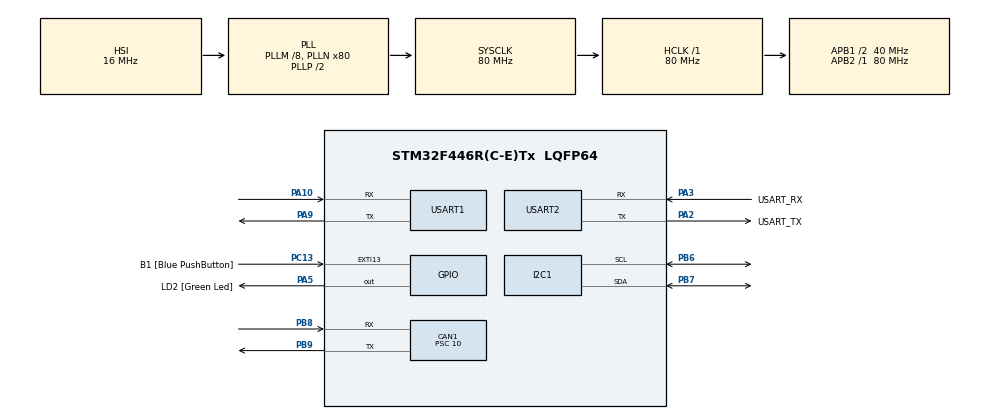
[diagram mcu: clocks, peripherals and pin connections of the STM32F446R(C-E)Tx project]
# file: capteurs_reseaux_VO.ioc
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CAN1.BS1=CAN_BS1_6TQ
CAN1.CalculateBaudRate=500000
CAN1.CalculateTimeBit=2000
CAN1.CalculateTimeQuantum=250.0
CAN1.Prescaler=10
Dma.Request0=USART1_RX
Dma.USART1_RX.0.Direction=DMA_PERIPH_TO_MEMORY
Dma.USART1_RX.0.FIFOMode=DMA_FIFOMODE_DISABLE
Dma.USART1_RX.0.Instance=DMA2_Stream2
Dma.USART1_RX.0.MemDataAlignment=DMA_MDATAALIGN_BYTE
Dma.USART1_RX.0.MemInc=DMA_MINC_ENABLE
Dma.USART1_RX.0.Mode=DMA_CIRCULAR
Dma.USART1_RX.0.PeriphDataAlignment=DMA_PDATAALIGN_BYTE
Dma.USART1_RX.0.PeriphInc=DMA_PINC_DISABLE
Dma.USART1_RX.0.Priority=DMA_PRIORITY_LOW
Mcu.Family=STM32F4
Mcu.Name=STM32F446R(C-E)Tx
Mcu.Package=LQFP64
NVIC.DMA2_Stream2_IRQn=true\:0\:0\:false\:false\:true\:false\:true\:true
NVIC.PriorityGroup=NVIC_PRIORITYGROUP_0
NVIC.TIM2_IRQn=true\:0\:0\:false\:false\:true\:true\:true\:true
NVIC.USART1_IRQn=true\:0\:0\:false\:false\:true\:true\:true\:true
PA10.Mode=Asynchronous
PA10.Signal=USART1_RX
PA13.GPIO_Label=TMS
PA13.Mode=Serial_Wire
PA13.Signal=SYS_JTMS-SWDIO
PA14.GPIO_Label=TCK
PA14.Mode=Serial_Wire
PA14.Signal=SYS_JTCK-SWCLK
PA2.GPIO_Label=USART_TX
PA2.Mode=Asynchronous
PA2.Signal=USART2_TX
PA3.GPIO_Label=USART_RX
PA3.Mode=Asynchronous
PA3.Signal=USART2_RX
PA5.GPIO_Label=LD2 [Green Led]
PA5.Signal=GPIO_Output
PA8.Signal=I2C3_SCL
PA9.Mode=Asynchronous
PA9.Signal=USART1_TX
PB3.GPIO_Label=SWO
PB3.Signal=SYS_JTDO-SWO
PB4.Signal=I2C3_SDA
PB6.Mode=I2C
PB6.Signal=I2C1_SCL
PB7.Mode=I2C
PB7.Signal=I2C1_SDA
PB8.Mode=CAN_Activate
PB8.Signal=CAN1_RX
PB9.Mode=CAN_Activate
PB9.Signal=CAN1_TX
PC13.GPIO_Label=B1 [Blue PushButton]
PC13.GPIO_ModeDefaultEXTI=GPIO_MODE_IT_FALLING
PC13.Signal=GPXTI13
PC14-OSC32_IN.Mode=LSE-External-Oscillator
PC14-OSC32_IN.Signal=RCC_OSC32_IN
PC15-OSC32_OUT.Mode=LSE-External-Oscillator
PC15-OSC32_OUT.Signal=RCC_OSC32_OUT
PH0-OSC_IN.Mode=HSE-External-Oscillator
PH0-OSC_IN.Signal=RCC_OSC_IN
PH1-OSC_OUT.Mode=HSE-External-Oscillator
PH1-OSC_OUT.Signal=RCC_OSC_OUT
ProjectManager.HeapSize=0x200
ProjectManager.StackSize=0x400
ProjectManager.TargetToolchain=STM32CubeIDE
RCC.48MHZClocksFreq_Value=84000000
RCC.AHBFreq_Value=80000000
RCC.APB1CLKDivider=RCC_HCLK_DIV2
RCC.APB1Freq_Value=40000000
RCC.APB1TimFreq_Value=80000000
RCC.APB2Freq_Value=80000000
RCC.APB2TimFreq_Value=80000000
RCC.CortexFreq_Value=80000000
RCC.FLatency-AdvancedSettings=FLASH_LATENCY_2
RCC.HCLKFreq_Value=80000000
RCC.HSE_VALUE=8000000
RCC.HSI_VALUE=16000000
RCC.PLLM=8
RCC.PLLN=80
RCC.SYSCLKFreq_VALUE=80000000
RCC.SYSCLKSource=RCC_SYSCLKSOURCE_PLLCLK
RCC.USBFreq_Value=80000000
RCC.VCOOutputFreq_Value=160000000
TIM2.Period=100-1
TIM2.Prescaler=8000-1
USART1.VirtualMode=VM_ASYNC
USART2.VirtualMode=VM_ASYNC
VP_TIM2_VS_ClockSourceINT.Mode=Internal
board=NUCLEO-F446RE

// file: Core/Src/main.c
/* USER CODE BEGIN Header */
/**
 ******************************************************************************
 * @file           : main.c
 * @brief          : Main program body
 ******************************************************************************
 * @attention
 *
 * Copyright (c) 2024 STMicroelectronics.
 * All rights reserved.
 *
 * This software is licensed under terms that can be found in the LICENSE file
 * in the root directory of this software component.
 * If no LICENSE file comes with this software, it is provided AS-IS.
 *
 ******************************************************************************
 */
/* USER CODE END Header */
#include "main.h"
#include "can.h"
#include "dma.h"
#include "i2c.h"
#include "tim.h"
#include "usart.h"
#include "gpio.h"

/* USER CODE BEGIN Includes */
#include <stdio.h>
#include <stdlib.h>
#include <string.h>
#include "BMP280_driver.h"
#include "MPU9250_driver.h"
#include "motor_driver.h"

/* USER CODE END Includes */

/* USER CODE BEGIN PD */
#define TRUE  1
#define FALSE 0
#define VERBOSE 0 // Enables debugging

#define SERIAL_BUFF_SIZE 7

#define GYRO_CAL_POINTS 1500

/* USER CODE END PD */

/* USER CODE BEGIN PV */
char serial_buff[SERIAL_BUFF_SIZE];

int gyro_K = 0;

/* USER CODE END PV */

void SystemClock_Config(void);

/* USER CODE BEGIN 0 */
/**
 * @brief  Transmit a character over UART.
 * @param  ch: Character to transmit.
 * @retval int: The transmitted character.
 */
int __io_putchar(int ch)
{
	HAL_UART_Transmit(&huart2, (uint8_t *)&ch, 1, 0xFFFF);
	HAL_UART_Transmit(&huart1, (uint8_t *)&ch, 1, 0xFFFF);

	return ch;
}

/**
 * @brief  Initialize BMP280 sensor.
 * @retval int: EXIT_SUCCESS if initialization is successful, EXIT_FAILURE if failed.
 */
int BMP280_init()
{
	if (BMP280_Check_id() == EXIT_FAILURE) return EXIT_FAILURE;		// Identification du BMP280
	if (BMP280_Config() == EXIT_FAILURE) return EXIT_FAILURE;		// Configuration du BMP280
	if (BMP280_calibration() == EXIT_FAILURE) return EXIT_FAILURE;	// Mise à jour des paramètres d'étalonage

	return EXIT_SUCCESS;
}

/**
 * @brief  Initialize the MPU9250 sensor.
 * @retval None
 */
void MPU9250_init()
{
	// Vérifie si l'IMU est configuré correctement et bloque si ce n'est pas le cas
	if (MPU_begin(&hi2c1, AD0_LOW, AFSR_4G, GFSR_500DPS, 0.98, 0.004) == TRUE)
	{
		//printf("Centrale inertielle configurée correctement\r\n");
	}
	else
	{
		printf("ERREUR!\r\n");
	}

	// Calibre l'IMU
	if (VERBOSE) printf("CALIBRATION EN COURS...\r\n");
	if (gyro_K == 0) gyro_K = GYRO_CAL_POINTS;
	MPU_calibrateGyro(&hi2c1, gyro_K);
}

/**
 * @brief  Initialize the motor driver and CAN interface.
 * @retval None
 */
void MOT_Init()
{
	CAN_Init();
	MOT_Set_mode(MOT_MODE_ANTICLOCKWISE, 1, 1);
	MOT_Set_origin();
}

int angle = 0;
const float proportional_coeff = 0.0001;
/**
 * @brief  Period elapsed callback in non-blocking mode.
 * @param  htim: TIM handle
 * @retval None
 */
void HAL_TIM_PeriodElapsedCallback(TIM_HandleTypeDef *htim)
{
	if (htim->Instance == TIM2) // Check if the interrupt is from Timer 2
	{
		// Motor movement proportional to the temperature
		angle += (int)(BMP280_get_temperature() * proportional_coeff)%360 - 180;

		// Sign and angle change to do complete rotations
		if (angle>0) MOT_Rotate(angle, MOT_ANGLE_POSITIVE);
		else if (angle<0) MOT_Rotate(-angle, MOT_ANGLE_NEGATIVE);
	}
}

/**
 * @brief  Process the command received from the Raspberry Pi over UART.
 * @param	String to parse, of type char
 * @retval	None
 */
void parse_RaspberryPI_Request(char* cmd)
{
	if (!strncmp(cmd, "GET_T", 5)) {
		printf("T=+%.2f_C\r\n", (float) (BMP280_get_temperature()/100));
	}
	else if (!strncmp(cmd, "GET_P", 5)) {
		printf("P=%dPa\r\n", (int) (BMP280_get_pressure()/256));
	}
	else if (!strncmp(cmd, "SET_K", 5)) {
		MPU_calibrateGyro(&hi2c1, gyro_K);
		printf("SET_K=OK\r\n");
	}
	else if (!strncmp(cmd, "GET_K", 5)) {
		printf("K=%.5f\r\n", (float) gyro_K/100);
	}
	else if (!strncmp(cmd, "GET_A", 5)) {
		MPU_calcAttitude(&hi2c1);
		printf("A=%.1f;%.1f;%.1f\r\n", attitude.r, attitude.p, attitude.y);
	}
	else {
		printf("Unknown request: %s\r\n", cmd);
	}
}

/**
 * @brief  UART Receive Event callback function. It processes received data from USART1.
 * @param  huart: Pointer to the UART handle.
 * @param  Size: Size of received data.
 * @retval None
 */
void HAL_UARTEx_RxEventCallback(UART_HandleTypeDef *huart, uint16_t Size)
{
	if (huart->Instance == USART1)
	{
		// Restart reception for the next byte
		HAL_UARTEx_ReceiveToIdle_DMA(&huart1, (uint8_t*)serial_buff, sizeof(serial_buff));
		parse_RaspberryPI_Request(serial_buff);
	}
}

/* USER CODE END 0 */

int main(void)
{

	/* MCU Configuration--------------------------------------------------------*/

	/* Reset of all peripherals, Initializes the Flash interface and the Systick. */
	HAL_Init();

	/* Configure the system clock */
	SystemClock_Config();

	/* Initialize all configured peripherals */
	MX_GPIO_Init();
	MX_DMA_Init();
	MX_USART2_UART_Init();
	MX_USART1_UART_Init();
	MX_CAN1_Init();
	MX_TIM2_Init();
	MX_I2C1_Init();
	/* USER CODE BEGIN 2 */
	printf("\r\n=== TP Capteurs & Reseaux ===\r\n");
	// Initialize external peripherals
	if (BMP280_init() == EXIT_FAILURE) return EXIT_FAILURE;
	MOT_Init();
	MPU9250_init();

	// Enable Timer 2 IT
	HAL_TIM_Base_Start_IT(&htim2);

	// Start USART1 DMA reception
	HAL_UARTEx_ReceiveToIdle_DMA(&huart1, (uint8_t*)serial_buff, sizeof(serial_buff));
	// Enable UART IDLE interrupt
	__HAL_UART_ENABLE_IT(&huart1, UART_IT_IDLE);

	/* USER CODE END 2 */

	/* Infinite loop */
	while (1)
	{

	}
}

void SystemClock_Config(void)
{
	RCC_OscInitTypeDef RCC_OscInitStruct = {0};
	RCC_ClkInitTypeDef RCC_ClkInitStruct = {0};

	/** Configure the main internal regulator output voltage
	 */
	__HAL_RCC_PWR_CLK_ENABLE();
	__HAL_PWR_VOLTAGESCALING_CONFIG(PWR_REGULATOR_VOLTAGE_SCALE3);

	/** Initializes the RCC Oscillators according to the specified parameters
	 * in the RCC_OscInitTypeDef structure.
	 */
	RCC_OscInitStruct.OscillatorType = RCC_OSCILLATORTYPE_HSI;
	RCC_OscInitStruct.HSIState = RCC_HSI_ON;
	RCC_OscInitStruct.HSICalibrationValue = RCC_HSICALIBRATION_DEFAULT;
	RCC_OscInitStruct.PLL.PLLState = RCC_PLL_ON;
	RCC_OscInitStruct.PLL.PLLSource = RCC_PLLSOURCE_HSI;
	RCC_OscInitStruct.PLL.PLLM = 8;
	RCC_OscInitStruct.PLL.PLLN = 80;
	RCC_OscInitStruct.PLL.PLLP = RCC_PLLP_DIV2;
	RCC_OscInitStruct.PLL.PLLQ = 2;
	RCC_OscInitStruct.PLL.PLLR = 2;
	if (HAL_RCC_OscConfig(&RCC_OscInitStruct) != HAL_OK)
	{
		Error_Handler();
	}

	/** Initializes the CPU, AHB and APB buses clocks
	 */
	RCC_ClkInitStruct.ClockType = RCC_CLOCKTYPE_HCLK|RCC_CLOCKTYPE_SYSCLK
			|RCC_CLOCKTYPE_PCLK1|RCC_CLOCKTYPE_PCLK2;
	RCC_ClkInitStruct.SYSCLKSource = RCC_SYSCLKSOURCE_PLLCLK;
	RCC_ClkInitStruct.AHBCLKDivider = RCC_SYSCLK_DIV1;
	RCC_ClkInitStruct.APB1CLKDivider = RCC_HCLK_DIV2;
	RCC_ClkInitStruct.APB2CLKDivider = RCC_HCLK_DIV1;

	if (HAL_RCC_ClockConfig(&RCC_ClkInitStruct, FLASH_LATENCY_2) != HAL_OK)
	{
		Error_Handler();
	}
}

void Error_Handler(void)
{
	__disable_irq();
	while (1)
	{
	}
}
